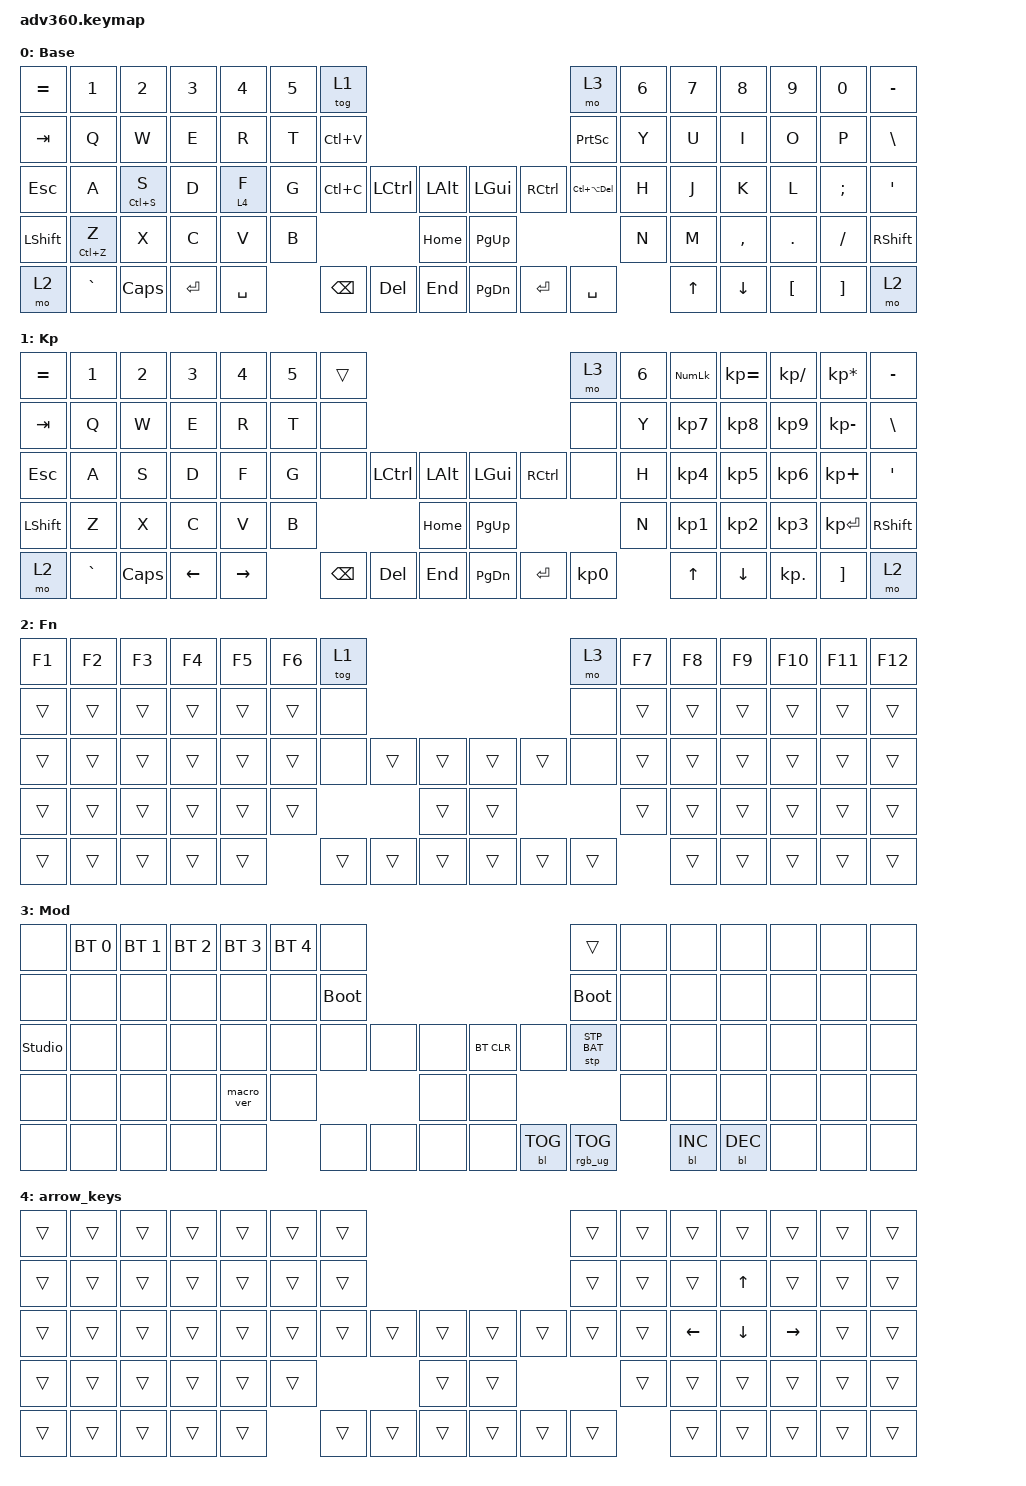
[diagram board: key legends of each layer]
#include <dt-bindings/zmk/stp.h>
#include <behaviors.dtsi>
#include <dt-bindings/zmk/backlight.h>
#include <dt-bindings/zmk/bt.h>
#include <dt-bindings/zmk/keys.h>
#include <dt-bindings/zmk/rgb.h>

/ {
    behaviors {
        #include "macros.dtsi"
      #include "version.dtsi"

        hm: homerow_mods {
            compatible = "zmk,behavior-hold-tap";
            label = "HOMEROW_MODS";
            #binding-cells = <2>;
            tapping-term-ms = <200>;
            quick_tap_ms = <175>;
            flavor = "tap-preferred";
            bindings = <&kp>, <&kp>;
        };

        hr_mods: hr_mods {
            compatible = "zmk,behavior-hold-tap";
            label = "HR_MODS";
            bindings = <&kp>, <&kp>;

            #binding-cells = <2>;
            tapping-term-ms = <400>;
            quick-tap-ms = <400>;
            require-prior-idle-ms = <400>;
            flavor = "tap-preferred";
        };
    };

    keymap {
        compatible = "zmk,keymap";

        default_layer {
            display-name = "Base";
            bindings = <
&kp EQUAL  &kp N1            &kp N2            &kp N3     &kp N4     &kp N5  &tog 1                                                         &mo 3               &kp N6  &kp N7  &kp N8     &kp N9    &kp N0    &kp MINUS
&kp TAB    &kp Q             &kp W             &kp E      &kp R      &kp T   &kp LC(V)                                                      &kp PRINTSCREEN     &kp Y   &kp U   &kp I      &kp O     &kp P     &kp BSLH
&kp ESC    &kp A             &hr_mods LC(S) S  &kp D      &lt 4 F    &kp G   &kp LC(C)      &kp LCTRL   &kp LALT      &kp LGUI   &kp RCTRL  &kp LC(LA(DELETE))  &kp H   &kp J   &kp K      &kp L     &kp SEMI  &kp SQT
&kp LSHFT  &hr_mods LC(Z) Z  &kp X             &kp C      &kp V      &kp B                              &kp HOME      &kp PG_UP                                 &kp N   &kp M   &kp COMMA  &kp DOT   &kp FSLH  &kp RSHFT
&mo 2      &kp GRAVE         &kp CAPS          &kp ENTER  &kp SPACE          &kp BACKSPACE  &kp DELETE  &kp END       &kp PG_DN  &kp ENTER  &kp SPACE                   &kp UP  &kp DOWN   &kp LBKT  &kp RBKT  &mo 2
            >;
        };

        keypad {
            display-name = "Kp";
            bindings = <
&kp EQUAL  &kp N1     &kp N2    &kp N3    &kp N4     &kp N5  &trans                                                   &mo 3      &kp N6  &kp KP_NUM  &kp KP_EQUAL  &kp KP_DIVIDE  &kp KP_MULTIPLY  &kp MINUS
&kp TAB    &kp Q      &kp W     &kp E     &kp R      &kp T   &none                                                    &none      &kp Y   &kp KP_N7   &kp KP_N8     &kp KP_N9      &kp KP_MINUS     &kp BSLH
&kp ESC    &kp A      &kp S     &kp D     &kp F      &kp G   &none     &kp LCTRL  &kp LALT      &kp LGUI   &kp RCTRL  &none      &kp H   &kp KP_N4   &kp KP_N5     &kp KP_N6      &kp KP_PLUS      &kp SQT
&kp LSHFT  &kp Z      &kp X     &kp C     &kp V      &kp B                        &kp HOME      &kp PG_UP                        &kp N   &kp KP_N1   &kp KP_N2     &kp KP_N3      &kp KP_ENTER     &kp RSHFT
&mo 2      &kp GRAVE  &kp CAPS  &kp LEFT  &kp RIGHT          &kp BSPC  &kp DEL    &kp END       &kp PG_DN  &kp ENTER  &kp KP_N0          &kp UP      &kp DOWN      &kp KP_DOT     &kp RBKT         &mo 2
            >;
        };

        fn {
            display-name = "Fn";
            bindings = <
&kp F1  &kp F2  &kp F3  &kp F4  &kp F5  &kp F6  &tog 1                                      &mo 3   &kp F7  &kp F8  &kp F9  &kp F10  &kp F11  &kp F12
&trans  &trans  &trans  &trans  &trans  &trans  &none                                       &none   &trans  &trans  &trans  &trans   &trans   &trans
&trans  &trans  &trans  &trans  &trans  &trans  &none   &trans  &trans      &trans  &trans  &none   &trans  &trans  &trans  &trans   &trans   &trans
&trans  &trans  &trans  &trans  &trans  &trans                  &trans      &trans                  &trans  &trans  &trans  &trans   &trans   &trans
&trans  &trans  &trans  &trans  &trans          &trans  &trans  &trans      &trans  &trans  &trans          &trans  &trans  &trans   &trans   &trans
            >;
        };

        mod {
            display-name = "Mod";
            bindings = <
&none           &bt BT_SEL 0  &bt BT_SEL 1  &bt BT_SEL 2  &bt BT_SEL 3  &bt BT_SEL 4  &none                                                  &trans           &none  &none       &none       &none  &none  &none
&none           &none         &none         &none         &none         &none         &bootloader                                            &bootloader      &none  &none       &none       &none  &none  &none
&studio_unlock  &none         &none         &none         &none         &none         &none        &none  &none      &bt BT_CLR  &none       &stp STP_BAT     &none  &none       &none       &none  &none  &none
&none           &none         &none         &none         &macro_ver    &none                             &none      &none                                    &none  &none       &none       &none  &none  &none
&none           &none         &none         &none         &none                       &none        &none  &none      &none       &bl BL_TOG  &rgb_ug RGB_TOG         &bl BL_INC  &bl BL_DEC  &none  &none  &none
            >;
        };

        arrow_keys {
            bindings = <
&trans  &trans  &trans  &trans  &trans  &trans  &trans                                      &trans  &trans  &trans          &trans          &trans           &trans  &trans
&trans  &trans  &trans  &trans  &trans  &trans  &trans                                      &trans  &trans  &trans          &kp UP_ARROW    &trans           &trans  &trans
&trans  &trans  &trans  &trans  &trans  &trans  &trans  &trans  &trans      &trans  &trans  &trans  &trans  &kp LEFT_ARROW  &kp DOWN_ARROW  &kp RIGHT_ARROW  &trans  &trans
&trans  &trans  &trans  &trans  &trans  &trans                  &trans      &trans                  &trans  &trans          &trans          &trans           &trans  &trans
&trans  &trans  &trans  &trans  &trans          &trans  &trans  &trans      &trans  &trans  &trans          &trans          &trans          &trans           &trans  &trans
            >;
        };

        extra1 {
            display-name = "Red";
            status = "reserved";
        };

        extra2 {
            display-name = "Purple";
            status = "reserved";
        };

        extra3 {
            display-name = "Cyan";
            status = "reserved";
        };

        extra4 {
            display-name = "Yellow";
            status = "reserved";
        };
    };
};
